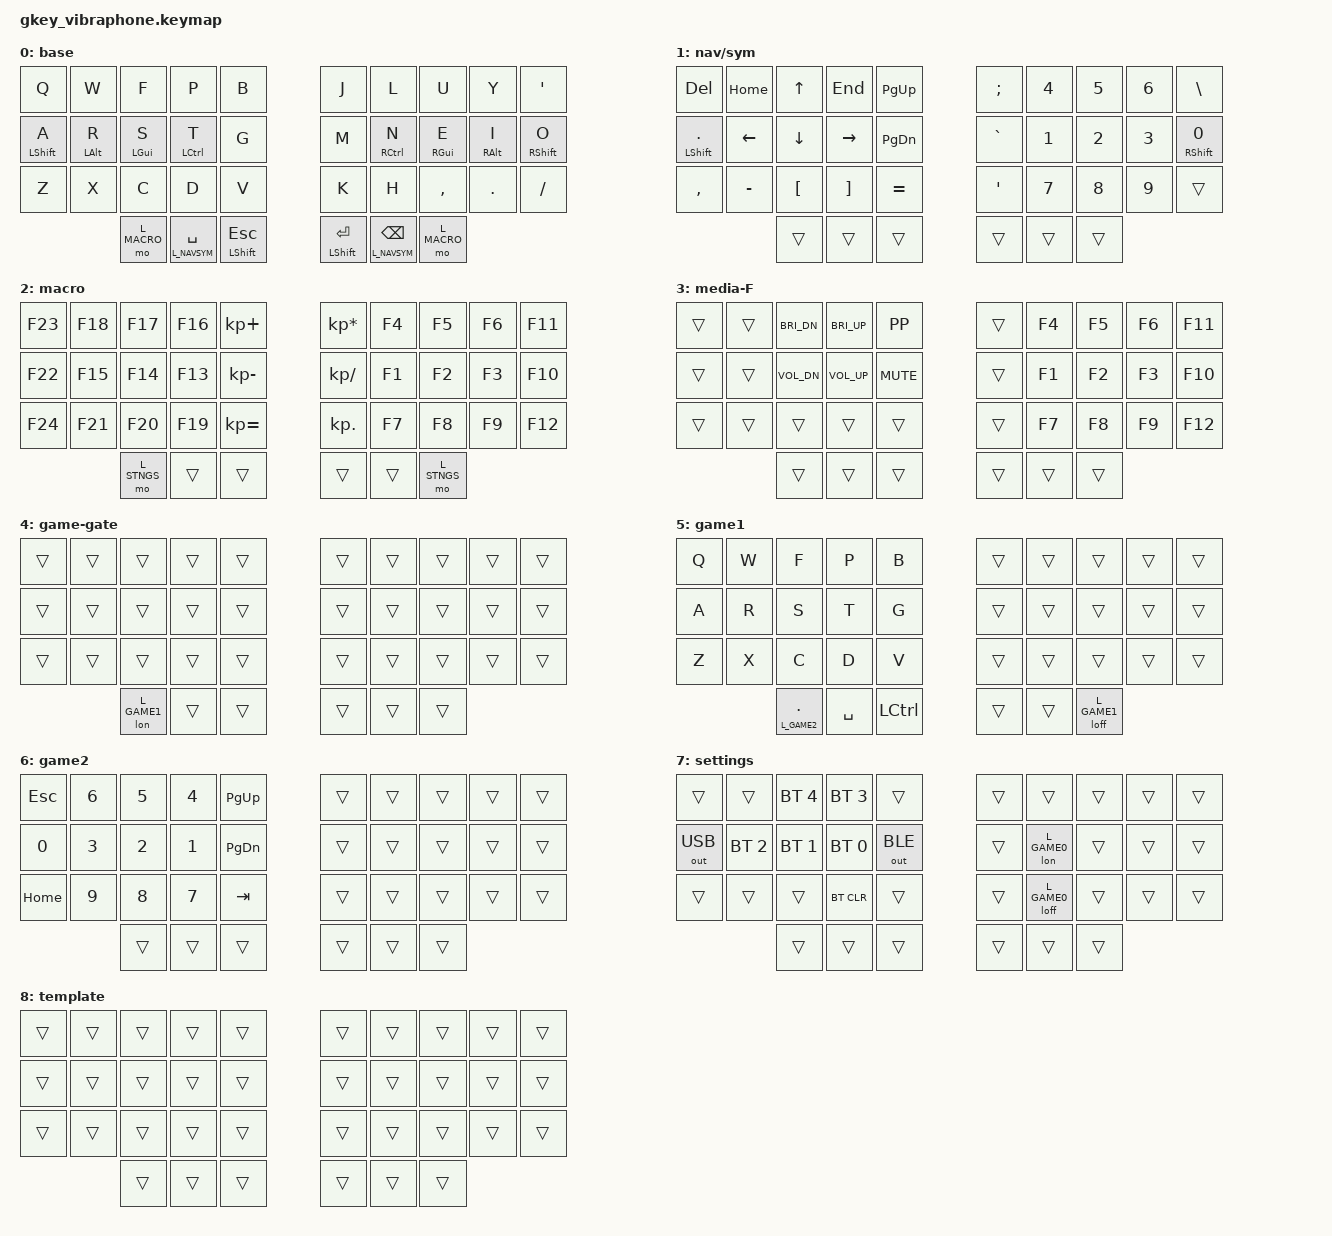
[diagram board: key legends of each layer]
/*
 * Copyright (c) 2021 The ZMK Contributors
 *
 * SPDX-License-Identifier: MIT
 *
 */

#include <behaviors.dtsi>
#include <dt-bindings/zmk/bt.h>
#include <dt-bindings/zmk/keys.h>
#include <dt-bindings/zmk/outputs.h>

// Global Settings {{{
&sl {
  release-after-ms = <1000>;
};
//}}}

// Layer Indices {{{
#define L_BASE    0
#define L_NAVSYM  1
#define L_MACRO   2
#define L_DUAL    3
#define L_GAME0   4
#define L_GAME1   5
#define L_GAME2   6
#define L_STNGS   7
#define L_TRANS   8

#define ALPHA_LAYERS L_BASE
#define TYPING_LAYERS ALPHA_LAYERS L_NAVSYM
#define GAMING_LAYERS L_GAME1 L_GAME2
#define RIGHT_HAND_LAYERS TYPING_LAYERS GAMING_LAYERS
//}}}

// High level key definitions {{{

// Hyper without Shift = Duper
#define K_DUPER RC(RA(RGUI))
#define DP(KP) RC(RA(RG(KP)))

// Left home row {{{
// base layer
#define G_A     &lsft LSHFT      A
#define G_R     &lhrm LALT       R
#define G_S     &lhrm LGUI       S
#define G_T     &lhrm LCTRL      T
#define G_D     &kp              D
// navsym layer
#define G_DOT   &lsft LSHFT        DOT
//}}}

// Right home row mods {{{
// base layer
#define G_H     &kp                H
#define G_N     &rhrm RCTRL        N
#define G_E     &rhrm RGUI         E
#define G_I     &rhrm RALT         I
#define G_O     &rsft RSHFT        O
// navsym layer
#define G_N0    &rsft RSHFT        N0
//}}}

// Left thumb {{{
#define G_SPC  &slt    L_NAVSYM SPC
#define G_ESC  &tm     LSHFT    ESC
//}}}

// Right thumb {{{
#define G_RET   &tm  LSHFT    RET
#define G_BSPC  &tlt L_NAVSYM BSPC
//}}}

// Dual thumb combo
#define G_DUAL &mo L_DUAL


//}}}

/ {
    /*                   KEY POSITIONS
    ╭────────────────────────╮  ╭────────────────────────╮
    │  0   1   2   3   4     │  │      5   6   7   8   9 │
    │ 10  11  12  13  14     │  │     15  16  17  18  19 │
    │ 20  21  22  23  24     │  │     25  26  27  28  29 │
    ╰───────────╮ 30  31  32 │  │ 33  34  35 ╭───────────╯
                ╰────────────╯  ╰────────────╯            */
    #define KEYS_LFINGERS 0 1 2 3 4 10 11 12 13 14 20 21 22 23 24
    #define KEYS_RFINGERS 5 6 7 8 9 15 16 17 18 19 25 26 27 28 29
    #define KEYS_LTHUMBS 30 31 32
    #define KEYS_RTHUMBS 33 34 35
    #define KEYS_THUMBS KEYS_LTHUMBS KEYS_RTHUMBS

    // Combos {{{
    combos {
      compatible = "zmk,combos";

      // Combo definition macro {{{
      #define COMBO(NAME, BINDINGS, KEYPOS, TIMEOUT, LAYERS) \
      combo_##NAME { \
        timeout-ms = <TIMEOUT>; \
        bindings = <BINDINGS>; \
        key-positions = <KEYPOS>; \
        layers = <LAYERS>; \
      };
      //}}}

      // Both left thumb buttons get to the G_DUAL layer:
      COMBO(dual_l, G_DUAL, 31 32, 35, TYPING_LAYERS)

      // Most frequent non-alpha chars (tab and semicolon):
      // (index and middle finger, home position, horizontal combo)
      COMBO(tab_h, &kp TAB, 12 13, 25, TYPING_LAYERS)
      COMBO(semi_h, &kp SEMI, 16 17, 25, RIGHT_HAND_LAYERS)
      // New, currently trying: (index finger, down, vertical combo)
      COMBO(tab_v, &kp TAB, 13 23, 25, TYPING_LAYERS)
      COMBO(semi_v, &kp SEMI, 16 26, 25, RIGHT_HAND_LAYERS)

      // Put - and = on easy, combos:
      // (ring and middle finger, home position, horizontal combo)
      COMBO(minus_lh, &kp MINUS, 11 12, 25, TYPING_LAYERS)
      COMBO(equal_rh, &kp EQUAL, 17 18, 25, RIGHT_HAND_LAYERS)
      // New, currently trying: (ring finger, up vertical combo)
      COMBO(minus_lv, &kp MINUS, 1 11, 25, TYPING_LAYERS)
      COMBO(equal_rv, &kp EQUAL, 8 18, 25, RIGHT_HAND_LAYERS)

      // Shortcut to brackets: 
      // (middle finger, up, vertical combo)
      COMBO(lbkt, &kp LBKT   , 2 12, 25, TYPING_LAYERS)
      COMBO(rbkt, &kp RBKT   , 7 17, 25, RIGHT_HAND_LAYERS)

      // Shortcut to parens:
      // (index finger, up, vertical combo)
      COMBO(lprn, &st LS(N9), 3 13, 25, TYPING_LAYERS)
      COMBO(rprn, &st LS(N0), 6 16, 25, RIGHT_HAND_LAYERS)

      // Alternate 'A' and 'O' for ALL CAPS TYPING USING PINKY AS SHIFT
      // (middle finger, down, vertical combo)
      COMBO(alt_o_l, &kp O, 12 22, 25, TYPING_LAYERS)
      COMBO(alt_a_r, &kp A, 17 27, 25, RIGHT_HAND_LAYERS)
    };
    //}}}

    // Behaviors {{{
    behaviors {
      lhrm: left_home_row_mod {
        compatible = "zmk,behavior-hold-tap";
        #binding-cells = <2>;
        flavor = "balanced";
        tapping-term-ms = <280>;
        quick-tap-ms = <150>;
        //require-prior-idle-ms = <175>;
        bindings = <&kp>, <&kp>;
        hold-trigger-key-positions = <KEYS_RFINGERS KEYS_RTHUMBS>;
        hold-trigger-on-release;
      };

      rhrm: right_home_row_mod {
        compatible = "zmk,behavior-hold-tap";
        #binding-cells = <2>;
        flavor = "balanced";
        tapping-term-ms = <280>;
        quick-tap-ms = <150>;
        //require-prior-idle-ms = <175>;
        bindings = <&kp>, <&kp>;
        hold-trigger-key-positions = <KEYS_LFINGERS KEYS_LTHUMBS>;
        hold-trigger-on-release;
      };

      lsft: left_home_shift {
        compatible = "zmk,behavior-hold-tap";
        #binding-cells = <2>;
        flavor = "balanced";
        tapping-term-ms = <150>;
        quick-tap-ms = <150>;
        bindings = <&kp>, <&kp>;
        hold-trigger-key-positions = <KEYS_RFINGERS KEYS_RTHUMBS>;
        hold-trigger-on-release;
      };

      rsft: right_home_shift {
        compatible = "zmk,behavior-hold-tap";
        #binding-cells = <2>;
        flavor = "balanced";
        tapping-term-ms = <150>;
        quick-tap-ms = <150>;
        bindings = <&kp>, <&kp>;
        hold-trigger-key-positions = <KEYS_LFINGERS KEYS_LTHUMBS>;
        hold-trigger-on-release;
      };

      tm: thumb_mod {
        compatible = "zmk,behavior-hold-tap";
        #binding-cells = <2>;
        flavor = "hold-preferred";
        tapping-term-ms = <135>;
        quick-tap-ms = <150>;
        bindings = <&kp>, <&kp>;
      };

      sm: space_mod {
        compatible = "zmk,behavior-hold-tap";
        #binding-cells = <2>;
        flavor = "balanced";
        tapping-term-ms = <175>;
        bindings = <&kp>, <&kp>;
      };

      tlt: thumb_layer_tap {
        compatible = "zmk,behavior-hold-tap";
        #binding-cells = <2>;
        flavor = "balanced";
        tapping-term-ms = <150>;
        quick-tap-ms = <150>;
        bindings = <&mo>, <&kp>;
      };

      slt: space_layer_tap {
        compatible = "zmk,behavior-hold-tap";
        #binding-cells = <2>;
        flavor = "balanced";
        tapping-term-ms = <175>;
        quick-tap-ms = <175>;
        bindings = <&mo>, <&kp>;
      };

      st: shifted_tap {
        compatible = "zmk,behavior-macro-one-param";
        #binding-cells = <1>;
        bindings = <&macro_param_1to1>, <&macro_tap &kp MACRO_PLACEHOLDER>;
      };

      loff: layer_off {
        compatible = "zmk,behavior-toggle-layer";
        #binding-cells = <1>;
        display-name = "Layer Off";
        toggle-mode = "off";
      };

      lon: layer_on {
        compatible = "zmk,behavior-toggle-layer";
        #binding-cells = <1>;
        display-name = "Layer On";
        toggle-mode = "on";
      };
    };
    //}}}

  // Layers {{{
	keymap {
		compatible = "zmk,keymap";

		base_layer {
			display-name = "base";
			bindings = <
        &kp Q         &kp W         &kp F         &kp P           &kp B        /*& &*/     &kp J               &kp L            &kp U              &kp Y         &kp SQT 
        G_A           G_R           G_S           G_T             &kp G        /*& &*/     &kp M               G_N              G_E                G_I           G_O  
        &kp Z         &kp X         &kp C         G_D             &kp V        /*& &*/     &kp K               G_H              &kp COMMA          &kp DOT       &kp FSLH
                                        &mo L_MACRO   G_SPC           G_ESC    /*& &*/ G_RET          G_BSPC           &mo L_MACRO
			>;
		};

		navsym_layer {
			display-name = "nav/sym";
			bindings = <
        &kp DEL      &kp HOME      &kp UP       &kp END          &kp PG_UP     /*& &*/      &kp SEMI            &kp N4           &kp N5         &kp N6        &kp BSLH
        G_DOT        &kp LEFT      &kp DOWN     &kp RIGHT        &kp PG_DN     /*& &*/      &kp GRAVE           &kp N1           &kp N2         &kp N3        G_N0  
        &kp COMMA    &kp MINUS     &kp LBKT     &kp RBKT         &kp EQUAL     /*& &*/      &kp SQT             &kp N7           &kp N8         &kp N9        &trans  
                                       &trans        &trans          &trans    /*& &*/ &trans            &trans            &trans
			>;
		};

		macro_layer {
			display-name = "macro";
			bindings = <
        &kp F23      &kp F18       &kp F17       &kp F16         &kp KP_PLUS   /*& &*/     &kp KP_MULTIPLY      &kp F4            &kp F5            &kp F6        &kp F11 
        &kp F22      &kp F15       &kp F14       &kp F13         &kp KP_MINUS  /*& &*/     &kp KP_DIVIDE        &kp F1            &kp F2            &kp F3        &kp F10 
        &kp F24      &kp F21       &kp F20       &kp F19         &kp KP_EQUAL  /*& &*/     &kp KP_DOT           &kp F7            &kp F8            &kp F9        &kp F12 
                                       &mo L_STNGS   &trans          &trans    /*& &*/ &trans         &trans           &mo L_STNGS
			>;
		};

		dualthumb_layer {
			display-name = "media-F";
			bindings = <
		&trans       &trans        &kp C_BRI_DN  &kp C_BRI_UP     &kp K_PP     /*& &*/    &trans             &kp F4            &kp F5            &kp F6        &kp F11
        &trans       &trans        &kp K_VOL_DN  &kp K_VOL_UP     &kp K_MUTE   /*& &*/    &trans             &kp F1            &kp F2            &kp F3        &kp F10
        &trans       &trans        &trans        &trans           &trans       /*& &*/    &trans             &kp F7            &kp F8            &kp F9        &kp F12
                                       &trans        &trans          &trans    /*& &*/ &trans         &trans           &trans
			>;
		};

		game0_layer {
			display-name = "game-gate";
			bindings = <
        &trans       &trans        &trans        &trans          &trans        /*& &*/     &trans              &trans           &trans         &trans        &trans
        &trans       &trans        &trans        &trans          &trans        /*& &*/     &trans              &trans           &trans         &trans        &trans
        &trans       &trans        &trans        &trans          &trans        /*& &*/     &trans              &trans           &trans         &trans        &trans
                                       &lon L_GAME1  &trans          &trans    /*& &*/ &trans         &trans           &trans
			>;
		};

		game1_layer {
			display-name = "game1";
			bindings = <
        &kp Q          &kp W         &kp F         &kp P           &kp B         /*& &*/     &trans              &trans           &trans         &trans        &trans 
        &kp A          &kp R         &kp S         &kp T           &kp G         /*& &*/     &trans              &trans           &trans         &trans        &trans 
        &kp Z          &kp X         &kp C         &kp D           &kp V         /*& &*/     &trans              &trans           &trans         &trans        &trans 
                                &tlt L_GAME2 DOT       &kp SPC         &kp LCTRL /*& &*/ &trans         &trans           &loff L_GAME1                                       
			>;
		};

		game2_layer {
			display-name = "game2";
			bindings = <
        &kp ESC      &kp N6        &kp N5        &kp N4          &kp PG_UP     /*& &*/     &trans              &trans           &trans         &trans        &trans
        &kp N0       &kp N3        &kp N2        &kp N1          &kp PG_DN     /*& &*/     &trans              &trans           &trans         &trans        &trans
        &kp HOME     &kp N9        &kp N8        &kp N7          &kp TAB       /*& &*/     &trans              &trans           &trans         &trans        &trans
                                       &trans        &trans          &trans    /*& &*/ &trans         &trans           &trans
			>;
		};

		settings_layer {
			display-name = "settings";
			bindings = <
        &trans       &trans        &bt BT_SEL 4  &bt BT_SEL 3       &trans        /*& &*/     &trans              &trans           &trans         &trans        &trans
        &out OUT_USB &bt BT_SEL 2  &bt BT_SEL 1  &bt BT_SEL 0       &out OUT_BLE  /*& &*/     &trans              &lon  L_GAME0    &trans         &trans        &trans
        &trans       &trans        &trans        &bt BT_CLR         &trans        /*& &*/     &trans              &loff L_GAME0    &trans         &trans        &trans
                                       &trans        &trans             &trans    /*& &*/ &trans         &trans           &trans
			>;
		};

    	// This effectively acts as a template for new layers, but I leave it as part of the layout to make sure it can always compile.
		trans_layer {
			display-name = "template";
			bindings = <
        &trans       &trans        &trans        &trans          &trans        /*& &*/     &trans              &trans           &trans         &trans        &trans
        &trans       &trans        &trans        &trans          &trans        /*& &*/     &trans              &trans           &trans         &trans        &trans
        &trans       &trans        &trans        &trans          &trans        /*& &*/     &trans              &trans           &trans         &trans        &trans
                                       &trans        &trans          &trans    /*& &*/ &trans         &trans           &trans
			>;
		};

	};
  //}}}

};
